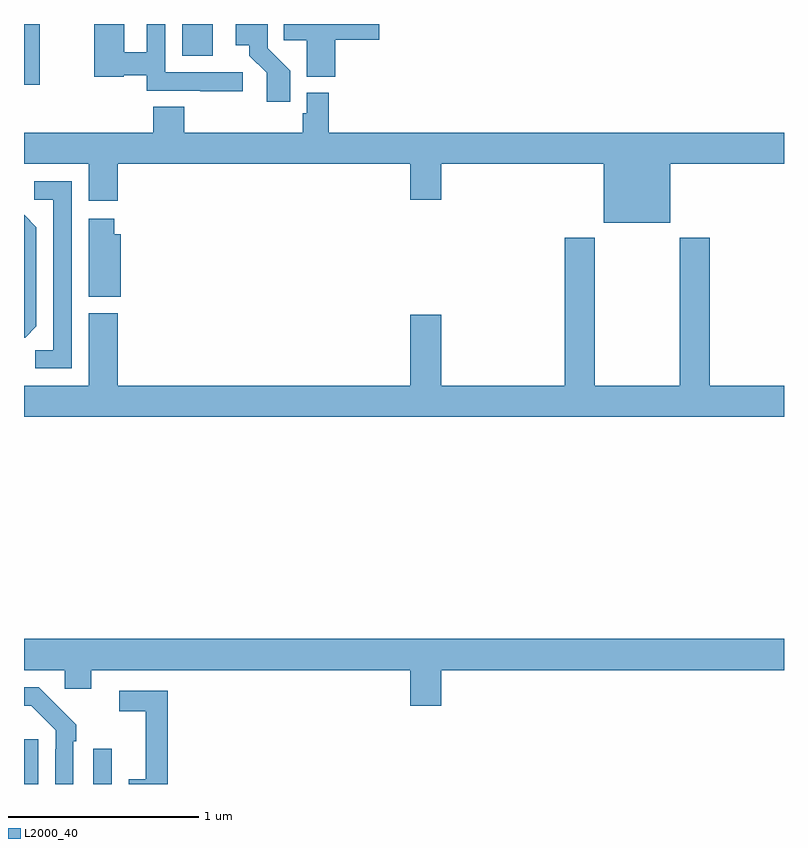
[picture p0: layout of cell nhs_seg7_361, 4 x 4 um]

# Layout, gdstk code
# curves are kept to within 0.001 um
import gdstk
lib = gdstk.Library(unit=1e-6, precision=1e-09)
def R(c, l, rs):  # rectangles x0, y0, x1, y1
    for r in rs: c.add(gdstk.rectangle(r[:2], r[2:], *l))
def P(c, l, *ps):  # polygons
    for p in ps: c.add(gdstk.Polygon(p, *l))
L2000_40 = (2000, 40)

nhs_seg7_361 = lib.new_cell('nhs_seg7_361')
R(nhs_seg7_361, L2000_40, [(139,1016,139.075,1016.236), (139.365,1016,139.461,1016.185), (139,1019.679,139.084,1020), (139.832,1019.832,139.993,1020)])
P(nhs_seg7_361, L2000_40, [(140.152,1019.745),(139.743,1019.745),(139.743,1020),(139.647,1020),(139.647,1019.851),(139.528,1019.851),(139.528,1020),(139.37,1020),(139.37,1019.722),(139.524,1019.722),(139.524,1019.73),(139.647,1019.73),(139.647,1019.649),(139.927,1019.649),(139.927,1019.647),(140.152,1019.647)],
  [(140.402,1019.754),(140.283,1019.873),(140.283,1020),(140.114,1020),(140.114,1019.888),(140.186,1019.888),(140.186,1019.833),(140.277,1019.743),(140.277,1019.592),(140.402,1019.592)],
  [(140.639,1019.918),(140.869,1019.918),(140.869,1020),(140.368,1020),(140.368,1019.914),(140.489,1019.914),(140.489,1019.723),(140.639,1019.723)],
  [(142.402,1019.264),(143,1019.264),(143,1019.428),(140.603,1019.428),(140.603,1019.638),(140.487,1019.638),(140.487,1019.529),(140.467,1019.529),(140.467,1019.428),(139.844,1019.428),(139.844,1019.564),(139.679,1019.564),(139.679,1019.428),(139,1019.428),(139,1019.264),(139.34,1019.264),(139.34,1019.07),(139.493,1019.07),(139.493,1019.264),(141.032,1019.264),(141.032,1019.076),(141.196,1019.076),(141.196,1019.264),(142.052,1019.264),(142.052,1018.955),(142.402,1018.955)],
  [(139.251,1019.172),(139.053,1019.172),(139.053,1019.076),(139.155,1019.076),(139.155,1018.283),(139.06,1018.283),(139.06,1018.188),(139.251,1018.188)],
  [(139.065,1018.408),(139.065,1018.93),(139,1018.996),(139,1018.349),(139.006,1018.349)],
  [(139.51,1018.894),(139.475,1018.894),(139.475,1018.975),(139.34,1018.975),(139.34,1018.565),(139.51,1018.565)],
  [(143,1018.096),(142.61,1018.096),(142.61,1018.876),(142.45,1018.876),(142.45,1018.096),(142.005,1018.096),(142.005,1018.876),(141.845,1018.876),(141.845,1018.096),(141.196,1018.096),(141.196,1018.471),(141.032,1018.471),(141.032,1018.096),(139.493,1018.096),(139.493,1018.477),(139.34,1018.477),(139.34,1018.096),(139,1018.096),(139,1017.932),(143,1017.932)],
  [(141.196,1016.6),(143,1016.6),(143,1016.764),(139,1016.764),(139,1016.6),(139.215,1016.6),(139.215,1016.502),(139.354,1016.502),(139.354,1016.6),(141.032,1016.6),(141.032,1016.412),(141.196,1016.412)],
  [(139.26,1016.225),(139.275,1016.225),(139.275,1016.313),(139.078,1016.508),(139,1016.508),(139,1016.412),(139.039,1016.412),(139.167,1016.283),(139.167,1016.183),(139.164,1016.183),(139.164,1016),(139.26,1016)],
  [(139.757,1016.49),(139.5,1016.49),(139.5,1016.382),(139.64,1016.382),(139.64,1016.026),(139.55,1016.026),(139.55,1016),(139.757,1016)])

lib.write_gds('nhs_seg7_361.gds')
